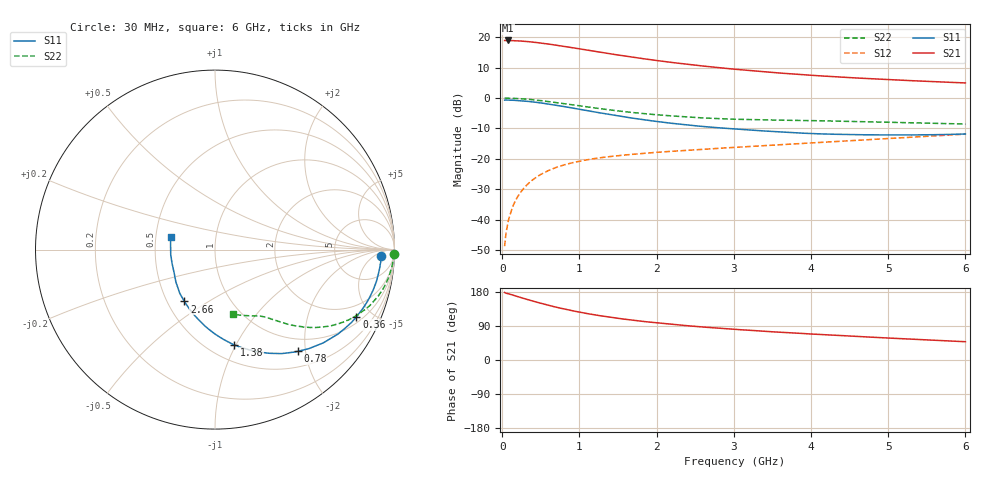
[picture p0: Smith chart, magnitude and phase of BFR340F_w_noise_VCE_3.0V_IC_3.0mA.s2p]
! Infineon Technologies  Discrete & RF Semiconductors
! BFR340F
! VCE =  3.0 V,  IC =  3.0 mA
! Common Emitter S-Parameters:  Nov 2015
# GHz  S  MA  R  50
!  f  S11  S21  S12  S22
! GHz  MAG  ANG  MAG  ANG  MAG  ANG  MAG  ANG
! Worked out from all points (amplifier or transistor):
!   206 points, 30 MHz to 6 GHz, reference 50 ohm
!   highest |S21| = 18.9 dB at 70 MHz (marker M1)
!   |S21| within 3 dB of that: start of sweep to 1.06 GHz
!   unconditionally stable (mu >= 1): 3.969 GHz to end of sweep
!   at 200 MHz: K = 0.08, MSG = 25.6 dB, |S12| = -32.4 dB
!   at 1.56 GHz: K = 0.60, MSG = 16.3 dB, |S12| = -18.8 dB
!   at 6 GHz: K = 1.02, MAG = 7.5 dB, |S12| = -11.9 dB
!   lowest NFmin = 1.14 dB at 1.9 GHz
!   S11 on the Smith chart (normalised r, x): 30 MHz: 21, -9; 360 MHz: 1.28, -4.03; 780 MHz: 0.76, -1.85; 1.38 GHz: 0.66, -0.98; 2.66 GHz: 0.61, -0.40; 6 GHz: 0.60, +0.09
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0.03  0.923 -2.1  8.789 178.1  0.0037 88.2  0.995 -1.3
0.05  0.9244 -3.6  8.736 176.1  0.0063 88.1  0.9944 -2.3
0.07  0.9239 -5.2  8.798 175.1  0.0087 87.1  0.9942 -3.2
0.08  0.9244 -5.7  8.765 174.9  0.0099 87.1  0.9936 -3.7
0.2  0.9091 -14.5  8.67 167.3  0.0241 81.8  0.9795 -9.1
0.36  0.8724 -25.5  8.355 157.5  0.0418 75.5  0.9455 -15.9
0.45  0.8457 -31.4  8.115 152.4  0.051 72.4  0.921 -19.4
0.6  0.796 -40.8  7.679 144.2  0.0646 67.7  0.8738 -24.6
0.7  0.7597 -46.6  7.362 139.2  0.0727 64.9  0.8408 -27.8
0.78  0.7304 -50.9  7.093 135.6  0.0784 63.0  0.8138 -30.0
0.9  0.6885 -57.3  6.719 130.3  0.0861 60.4  0.7746 -33.2
1.04  0.6397 -64.0  6.288 124.8  0.0938 57.9  0.7314 -36.2
1.2  0.5891 -71.3  5.829 119.0  0.1016 55.6  0.6853 -39.3
1.38  0.5395 -78.8  5.356 113.4  0.1088 53.7  0.6402 -42.0
1.7  0.4645 -91.0  4.653 104.7  0.1196 51.5  0.5756 -46.0
2.02  0.4091 -101.5  4.092 97.6  0.1288 50.6  0.5287 -48.8
2.34  0.3675 -111.3  3.648 91.5  0.1373 50.2  0.4936 -51.3
2.66  0.3355 -120.5  3.287 86.1  0.1458 50.4  0.4673 -53.5
3.1  0.3046 -131.5  2.901 79.7  0.1572 50.9  0.4457 -56.2
4.1  0.2583 -153.1  2.316 67.6  0.186 52.9  0.4234 -60.7
5.1  0.2476 -175.9  1.978 57.0  0.2199 54.1  0.3972 -67.4
6  0.2565 163.9  1.767 48.2  0.2554 54.4  0.3739 -74.7
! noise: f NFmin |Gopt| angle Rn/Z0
1.9  1.14  0.49  14  0.48
